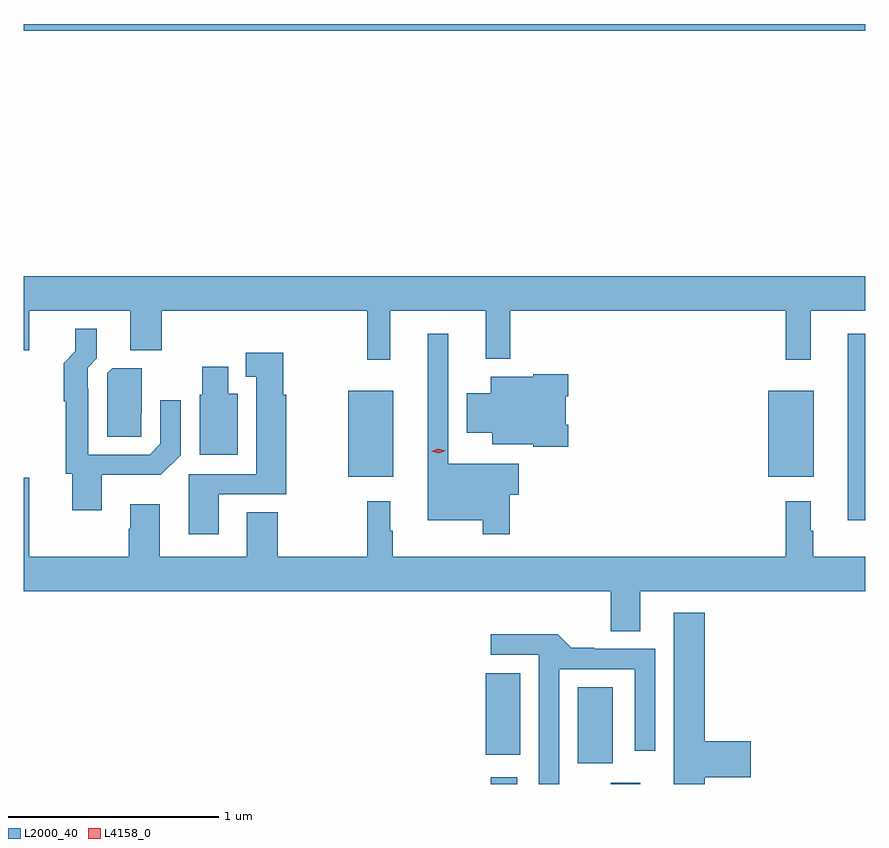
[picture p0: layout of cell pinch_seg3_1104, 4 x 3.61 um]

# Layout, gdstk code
import gdstk
lib = gdstk.Library(unit=1e-6, precision=1e-09)
def R(c, l, rs):  # rectangles x0, y0, x1, y1
    for r in rs: c.add(gdstk.rectangle(r[:2], r[2:], *l))
def P(c, l, *ps):  # polygons
    for p in ps: c.add(gdstk.Polygon(p, *l))
L2000_40 = (2000, 40)
L4158_0 = (4158, 0)

pinch_seg3_1104 = lib.new_cell('pinch_seg3_1104')
R(pinch_seg3_1104, L2000_40, [(335.198,745.287,335.323,745.318), (335.768,745.287,335.908,745.294), (335.612,745.386,335.779,745.748), (335.174,745.427,335.338,745.813), (336.896,746.54,336.978,747.427), (334.52,746.747,334.735,747.157), (336.518,746.747,336.733,747.157), (332.978,748.868,336.978,748.9)])
P(pinch_seg3_1104, L2000_40, [(334.721,747.536),(335.174,747.536),(335.174,747.308),(335.291,747.308),(335.291,747.536),(336.601,747.536),(336.601,747.303),(336.719,747.303),(336.719,747.536),(336.978,747.536),(336.978,747.7),(332.978,747.7),(332.978,747.348),(333.004,747.348),(333.004,747.536),(333.485,747.536),(333.485,747.349),(333.633,747.349),(333.633,747.536),(334.611,747.536),(334.611,747.303),(334.721,747.303)],
  [(333.349,746.756),(333.629,746.756),(333.723,746.85),(333.723,747.112),(333.627,747.112),(333.627,746.904),(333.576,746.853),(333.285,746.853),(333.285,747.167),(333.282,747.167),(333.282,747.267),(333.325,747.31),(333.325,747.451),(333.223,747.451),(333.223,747.344),(333.167,747.288),(333.167,747.106),(333.177,747.106),(333.177,746.763),(333.209,746.763),(333.209,746.589),(333.349,746.589)],
  [(335.288,746.662),(335.332,746.662),(335.332,746.809),(334.995,746.809),(334.995,747.427),(334.898,747.427),(334.898,746.54),(335.16,746.54),(335.16,746.475),(335.288,746.475)],
  [(333.904,746.664),(334.225,746.664),(334.225,747.138),(334.212,747.138),(334.212,747.337),(334.034,747.337),(334.034,747.224),(334.082,747.224),(334.082,746.76),(333.761,746.76),(333.761,746.475),(333.904,746.475)],
  [(333.994,747.142),(333.949,747.142),(333.949,747.271),(333.827,747.271),(333.827,747.138),(333.815,747.138),(333.815,746.852),(333.994,746.852)],
  [(333.537,747.049),(333.538,747.049),(333.538,747.264),(333.399,747.264),(333.375,747.24),(333.375,746.938),(333.537,746.938)],
  [(335.567,746.995),(335.554,746.995),(335.554,747.131),(335.567,747.131),(335.567,747.235),(335.4,747.235),(335.4,747.223),(335.198,747.223),(335.198,747.145),(335.084,747.145),(335.084,746.957),(335.204,746.957),(335.204,746.903),(335.4,746.903),(335.4,746.891),(335.567,746.891)],
  [(335.908,746.204),(336.978,746.204),(336.978,746.368),(336.73,746.368),(336.73,746.492),(336.718,746.492),(336.718,746.632),(336.601,746.632),(336.601,746.368),(334.732,746.368),(334.732,746.492),(334.72,746.492),(334.72,746.632),(334.611,746.632),(334.611,746.368),(334.185,746.368),(334.185,746.579),(334.037,746.579),(334.037,746.368),(333.625,746.368),(333.625,746.617),(333.485,746.617),(333.485,746.501),(333.478,746.501),(333.478,746.368),(333.004,746.368),(333.004,746.743),(332.978,746.743),(332.978,746.204),(335.768,746.204),(335.768,746.014),(335.908,746.014)],
  [(336.215,745.319),(336.433,745.319),(336.433,745.49),(336.215,745.49),(336.215,746.101),(336.068,746.101),(336.068,745.287),(336.215,745.287)],
  [(335.523,745.833),(335.883,745.833),(335.883,745.446),(335.979,745.446),(335.979,745.929),(335.689,745.929),(335.689,745.934),(335.581,745.934),(335.516,746),(335.199,746),(335.199,745.902),(335.427,745.902),(335.427,745.287),(335.523,745.287)])
P(pinch_seg3_1104, L4158_0, [(334.95,746.86),(334.914,746.869),(334.914,746.869),(334.914,746.869),(334.949,746.88),(334.984,746.872),(334.985,746.872),(334.984,746.872)])

lib.write_gds('pinch_seg3_1104.gds')
